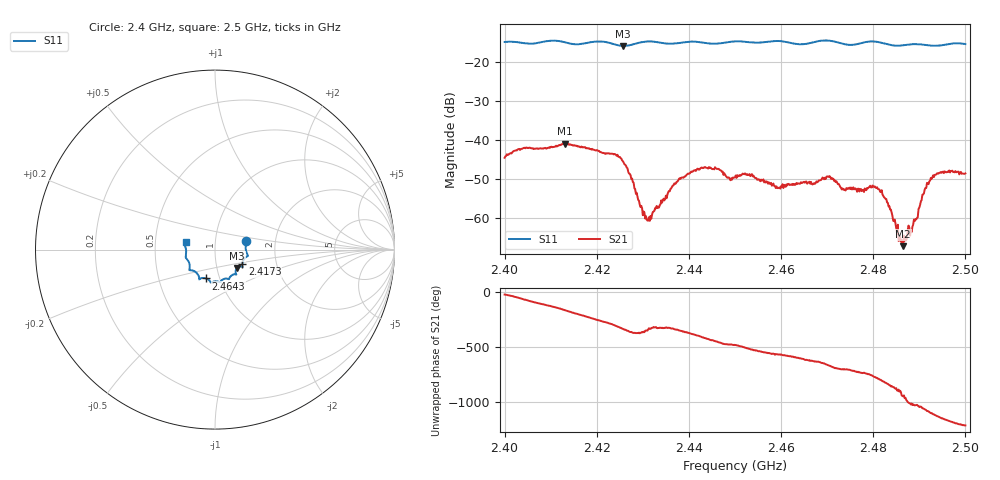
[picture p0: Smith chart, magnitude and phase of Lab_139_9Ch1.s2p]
# Hz S RI R 50
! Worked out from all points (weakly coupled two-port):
!   601 points, 2.4 GHz to 2.5 GHz, reference 50 ohm
!   highest |S21| = -40.91 dB at 2.413 GHz (marker M1); lowest = -67.1 dB at 2.4865 GHz (marker M2)
!   lowest |S11| = -15.9 dB at 2.4257 GHz (marker M3), VSWR 1.38, Z = 62.5 - j13.2 ohm
!   |S11| at or under -10 dB: start of sweep to end of sweep
!   S12 and S22 are empty: the file has one direction only
!   S11 on the Smith chart (normalised r, x): 2.4 GHz: 1.41, +0.14; 2.4173 GHz: 1.34, -0.23; 2.4643 GHz: 0.86, -0.28; 2.5 GHz: 0.72, +0.06
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2.4e9  0.1732 0.049  0.00545 -0.00241  0 0  0 0
2.413e9  0.1739 -0.0413  -0.00867 -0.00245  0 0  0 0
2.416667e9  0.1526 -0.0744  -0.00716 0.00422  0 0  0 0
2.417333e9  0.1517 -0.0817  -0.00632 0.00511  0 0  0 0
2.425667e9  0.1229 -0.1026  0.00489 0.00224  0 0  0 0
2.4305e9  0.1182 -0.1379  0.000988 0.000135  0 0  0 0
2.433333e9  0.113 -0.1372  0.00116 0.00079  0 0  0 0
2.437833e9  0.0829 -0.1535  0.00314 0.000598  0 0  0 0
2.4415e9  0.0761 -0.1646  0.00347 -0.00208  0 0  0 0
2.45e9  0.0289 -0.181  -0.00177 -0.00284  0 0  0 0
2.459333e9  -0.023 -0.1836  -0.00219 0.00107  0 0  0 0
2.464333e9  -0.0498 -0.1605  -0.00127 0.00261  0 0  0 0
2.466667e9  -0.076 -0.1591  -0.000331 0.00273  0 0  0 0
2.470333e9  -0.0877 -0.1653  0.00203 0.00272  0 0  0 0
2.4735e9  -0.094 -0.1415  0.00223 0.000683  0 0  0 0
2.480333e9  -0.1434 -0.1122  0.00159 -0.00202  0 0  0 0
2.483333e9  -0.1406 -0.0898  -0.000708 -0.00123  0 0  0 0
2.4865e9  -0.1523 -0.059  -0.000303 0.000321  0 0  0 0
2.4885e9  -0.1617 -0.0477  0.000449 0.000636  0 0  0 0
2.491167e9  -0.162 -0.033  0.00224 0.000677  0 0  0 0
2.493e9  -0.1606 -0.0143  0.00311 -0.00171  0 0  0 0
2.5e9  -0.1638 0.0425  -0.00243 -0.00287  0 0  0 0
